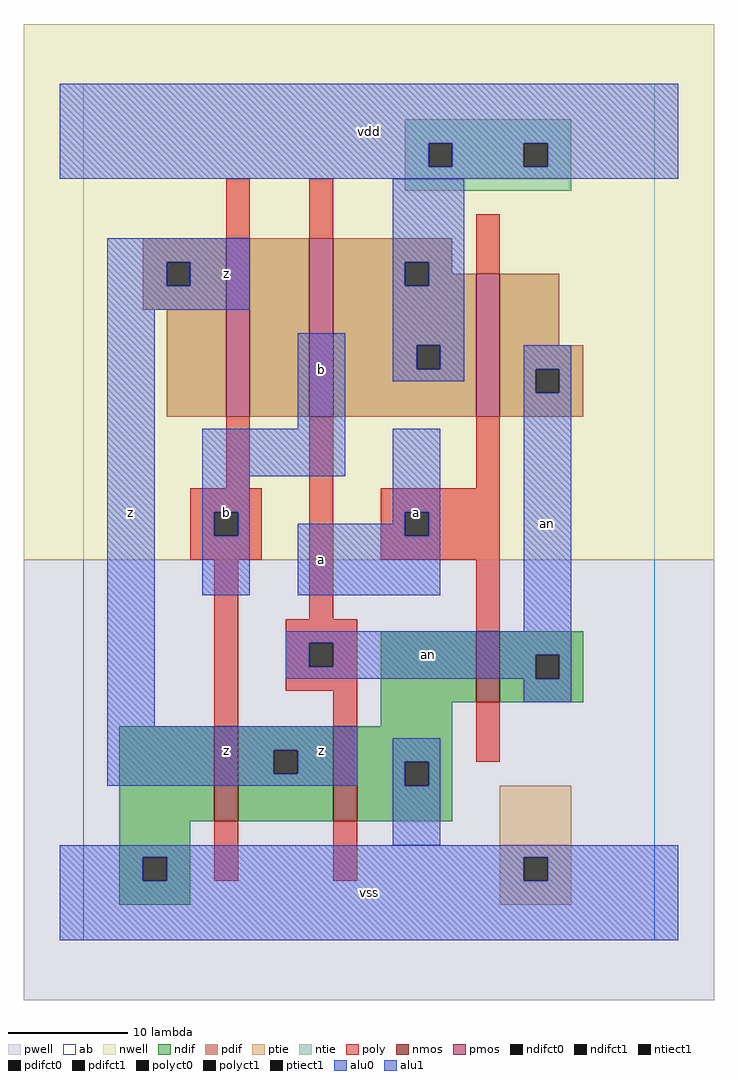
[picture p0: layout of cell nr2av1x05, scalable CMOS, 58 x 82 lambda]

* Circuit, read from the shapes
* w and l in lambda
.subckt nr2av1x05 a an b vdd vss z
M1 z b vss vss nfet w=8 l=2
M2 vss an z vss nfet w=8 l=2
M3 an a vss vss nfet w=6 l=2
M4 n1 b z vdd pfet w=15 l=2
M5 vdd an n1 vdd pfet w=15 l=2
M6 an a vdd vdd pfet w=12 l=2
.ends

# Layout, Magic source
magic
tech scmos
<< ab >>
rect 0 0 48 72
<< nwell >>
rect -5 32 53 77
<< pwell >>
rect -5 -5 53 32
<< poly >>
rect 12 59 14 64
rect 19 59 21 64
rect 33 56 35 61
rect 12 38 14 44
rect 9 36 15 38
rect 9 34 11 36
rect 13 34 15 36
rect 9 32 15 34
rect 11 18 13 32
rect 19 27 21 44
rect 33 38 35 44
rect 25 36 35 38
rect 25 34 27 36
rect 29 34 35 36
rect 25 32 35 34
rect 17 25 23 27
rect 33 26 35 32
rect 17 23 19 25
rect 21 23 23 25
rect 17 21 23 23
rect 21 18 23 21
rect 33 15 35 20
rect 11 5 13 10
rect 21 5 23 10
<< ndif >>
rect 25 20 33 26
rect 35 24 42 26
rect 35 22 38 24
rect 40 22 42 24
rect 35 20 42 22
rect 25 18 31 20
rect 3 10 11 18
rect 13 16 21 18
rect 13 14 16 16
rect 18 14 21 16
rect 13 10 21 14
rect 23 15 31 18
rect 23 13 27 15
rect 29 13 31 15
rect 23 10 31 13
rect 3 7 9 10
rect 3 5 5 7
rect 7 5 9 7
rect 3 3 9 5
<< pdif >>
rect 5 57 12 59
rect 5 55 7 57
rect 9 55 12 57
rect 5 53 12 55
rect 7 44 12 53
rect 14 44 19 59
rect 21 57 31 59
rect 21 55 27 57
rect 29 56 31 57
rect 29 55 33 56
rect 21 50 33 55
rect 21 48 28 50
rect 30 48 33 50
rect 21 44 33 48
rect 35 50 40 56
rect 35 48 42 50
rect 35 46 38 48
rect 40 46 42 48
rect 35 44 42 46
<< alu1 >>
rect -2 67 50 72
rect -2 65 29 67
rect 31 65 37 67
rect 39 65 50 67
rect -2 64 50 65
rect 2 57 14 59
rect 2 55 7 57
rect 9 55 14 57
rect 2 53 14 55
rect 2 18 6 53
rect 18 43 22 51
rect 10 39 22 43
rect 10 36 14 39
rect 10 34 11 36
rect 13 34 14 36
rect 26 36 30 43
rect 26 35 27 36
rect 10 29 14 34
rect 18 34 27 35
rect 29 34 30 36
rect 18 29 30 34
rect 2 16 23 18
rect 2 14 16 16
rect 18 14 23 16
rect 2 13 23 14
rect -2 7 50 8
rect -2 5 5 7
rect 7 5 37 7
rect 39 5 50 7
rect -2 0 50 5
<< ptie >>
rect 35 7 41 13
rect 35 5 37 7
rect 39 5 41 7
rect 35 3 41 5
<< ntie >>
rect 27 67 41 69
rect 27 65 29 67
rect 31 65 37 67
rect 39 65 41 67
rect 27 63 41 65
<< nmos >>
rect 33 20 35 26
rect 11 10 13 18
rect 21 10 23 18
<< pmos >>
rect 12 44 14 59
rect 19 44 21 59
rect 33 44 35 56
<< polyct0 >>
rect 19 23 21 25
<< polyct1 >>
rect 11 34 13 36
rect 27 34 29 36
<< ndifct0 >>
rect 38 22 40 24
rect 27 13 29 15
<< ndifct1 >>
rect 16 14 18 16
rect 5 5 7 7
<< ntiect1 >>
rect 29 65 31 67
rect 37 65 39 67
<< ptiect1 >>
rect 37 5 39 7
<< pdifct0 >>
rect 27 55 29 57
rect 28 48 30 50
rect 38 46 40 48
<< pdifct1 >>
rect 7 55 9 57
<< alu0 >>
rect 26 57 32 64
rect 26 55 27 57
rect 29 55 32 57
rect 26 50 32 55
rect 26 48 28 50
rect 30 48 32 50
rect 26 47 32 48
rect 37 48 41 50
rect 37 46 38 48
rect 40 46 41 48
rect 37 26 41 46
rect 17 25 41 26
rect 17 23 19 25
rect 21 24 41 25
rect 21 23 38 24
rect 17 22 38 23
rect 40 22 41 24
rect 37 20 41 22
rect 26 15 30 17
rect 26 13 27 15
rect 29 13 30 15
rect 26 8 30 13
<< labels >>
rlabel alu0 29 24 29 24 6 an
rlabel alu0 39 35 39 35 6 an
rlabel alu1 4 36 4 36 6 z
rlabel alu1 20 16 20 16 6 z
rlabel alu1 12 16 12 16 6 z
rlabel alu1 20 32 20 32 6 a
rlabel alu1 12 36 12 36 6 b
rlabel alu1 20 48 20 48 6 b
rlabel alu1 12 56 12 56 6 z
rlabel alu1 24 4 24 4 6 vss
rlabel alu1 28 36 28 36 6 a
rlabel alu1 24 68 24 68 6 vdd
<< end >>
